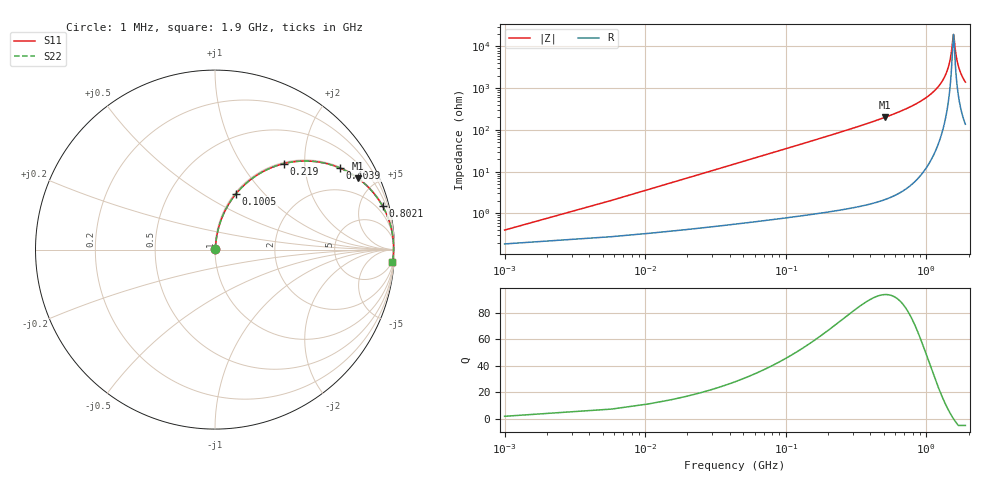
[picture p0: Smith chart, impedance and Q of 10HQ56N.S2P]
! Coilcraft 1008HQ-56N Chip Inductor
! 10 July 2002
# MHZ S MA R 50
!Freq  MagS11  AngS11  MagS21  AngS21  MagS12  AngS12  MagS22  AngS22
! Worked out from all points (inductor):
!   402 points, 1 MHz to 1.9 GHz, reference 50 ohm
!   read as one part in series: L = 56 nH near 10.48 MHz
!   highest Q = 93.6 at 508.2 MHz (marker M1), where L = 62.6 nH
!   self-resonance near 1.56 GHz
!   S11 on the Smith chart (normalised r, x): 1 MHz: 1.00, +0.01; 100.5 MHz: 1.02, +0.71; 219 MHz: 1.02, +1.57; 403.9 MHz: 1.03, +3.05; 802.1 MHz: 1.10, +7.66; 1.9 GHz: 4, -28
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1  0.003968 62.1  0.9981 -0.2  0.9981 -0.2  0.003968 62.1
15.22  0.05341 83.0  0.9949 -3.1  0.9949 -3.1  0.05341 83.0
29.44  0.1027 81.5  0.99 -5.9  0.99 -5.9  0.1027 81.5
57.88  0.1987 76.8  0.9741 -11.5  0.9741 -11.5  0.1987 76.8
100.54  0.3325 69.3  0.9358 -19.4  0.9358 -19.4  0.3325 69.3
219.04  0.6138 51.3  0.7807 -37.9  0.7807 -37.9  0.6138 51.3
318.58  0.7556 40.2  0.646 -49.1  0.646 -49.1  0.7556 40.2
403.9  0.8317 33.1  0.5461 -56.3  0.5461 -56.3  0.8317 33.1
508.18  0.8906 26.4  0.4454 -62.9  0.4454 -62.9  0.8906 26.4
636.16  0.9336 20.4  0.3481 -69.0  0.3481 -69.0  0.9336 20.4
802.06  0.9644 14.6  0.2518 -74.6  0.2518 -74.6  0.9644 14.6
953.74  0.9797 10.6  0.1834 -78.4  0.1834 -78.4  0.9797 10.6
1271.32  0.9932 4.3  0.07541 -82.7  0.07541 -82.7  0.9932 4.3
1375.6  0.9946 2.7  0.04672 -82.0  0.04672 -82.0  0.9946 2.7
1451.44  0.995 1.5  0.02743 -78.7  0.02743 -78.7  0.995 1.5
1503.58  0.9951 0.8  0.01506 -70.4  0.01506 -70.4  0.9951 0.8
1560.46  0.9949 0.0  0.00517 -9.3  0.00517 -9.3  0.9949 0.0
1584.16  0.9948 -0.3  0.006959 41.2  0.006959 41.2  0.9948 -0.3
1631.56  0.9944 -0.9  0.0162 69.5  0.0162 69.5  0.9944 -0.9
1693.18  0.9938 -1.6  0.02923 77.0  0.02923 77.0  0.9938 -1.6
1783.24  0.9926 -2.7  0.04781 79.8  0.04781 79.8  0.9926 -2.7
1900  0.9906 -4.0  0.07076 80.4  0.07076 80.4  0.9906 -4.0
